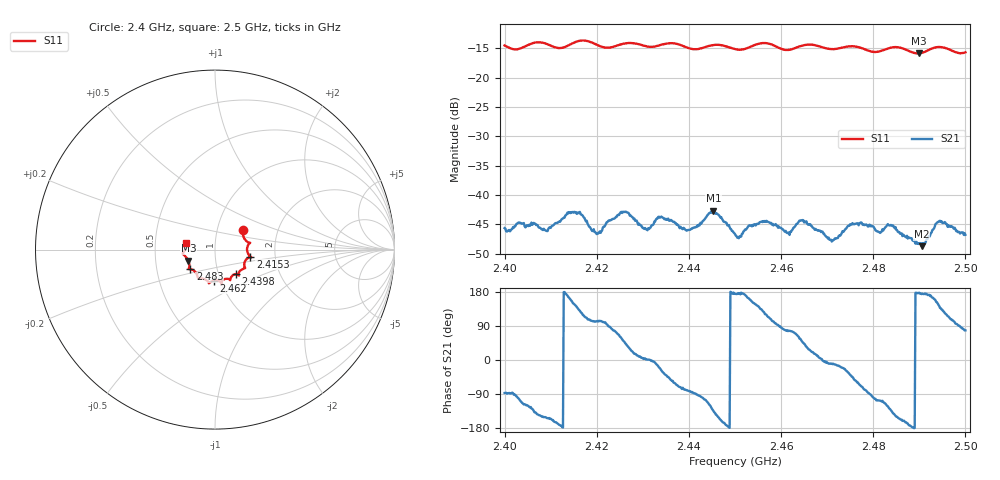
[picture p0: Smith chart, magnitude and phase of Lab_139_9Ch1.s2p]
# Hz S RI R 50
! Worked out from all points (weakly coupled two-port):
!   601 points, 2.4 GHz to 2.5 GHz, reference 50 ohm
!   highest |S21| = -42.66 dB at 2.4453 GHz (marker M1); lowest = -48.7 dB at 2.4905 GHz (marker M2)
!   lowest |S11| = -15.9 dB at 2.4898 GHz (marker M3), VSWR 1.38, Z = 36.8 - j4.62 ohm
!   |S11| at or under -10 dB: start of sweep to end of sweep
!   S12 and S22 are empty: the file has one direction only
!   S11 on the Smith chart (normalised r, x): 2.4 GHz: 1.33, +0.29; 2.4153 GHz: 1.48, -0.12; 2.4398 GHz: 1.21, -0.34; 2.462 GHz: 0.93, -0.33; 2.483 GHz: 0.74, -0.17; 2.5 GHz: 0.72, +0.06
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2.4e9  0.1547 0.1066  0.000268 -0.00523  0 0  0 0
2.409167e9  0.1904 0.0333  -0.0044 -0.00222  0 0  0 0
2.415333e9  0.1967 -0.0386  -0.00586 0.0041  0 0  0 0
2.416667e9  0.2024 -0.0427  -0.00385 0.00559  0 0  0 0
2.42e9  0.1849 -0.0459  -0.000964 0.00455  0 0  0 0
2.425667e9  0.1662 -0.0997  0.00448 0.00565  0 0  0 0
2.4305e9  0.1481 -0.112  0.00522 0.000385  0 0  0 0
2.433333e9  0.1311 -0.1337  0.00624 -0.00186  0 0  0 0
2.439833e9  0.1154 -0.1364  0.000756 -0.00499  0 0  0 0
2.445333e9  0.0843 -0.1697  -0.0052 -0.00521  0 0  0 0
2.45e9  0.065 -0.1624  -0.00464 0.000408  0 0  0 0
2.456333e9  0.0389 -0.1932  -0.00344 0.00482  0 0  0 0
2.462e9  -0.00516 -0.1729  0.00112 0.00473  0 0  0 0
2.466667e9  -0.0341 -0.1876  0.00507 0.00195  0 0  0 0
2.471e9  -0.0581 -0.1648  0.00397 -0.000672  0 0  0 0
2.4755e9  -0.0933 -0.1598  0.0041 -0.00406  0 0  0 0
2.483e9  -0.1377 -0.1094  -0.00282 -0.00474  0 0  0 0
2.483333e9  -0.1402 -0.1092  -0.0032 -0.00454  0 0  0 0
2.489833e9  -0.1485 -0.061  -0.00383 0.00019  0 0  0 0
2.4905e9  -0.1538 -0.0517  -0.00365 0.000388  0 0  0 0
2.494333e9  -0.181 -0.0218  -0.00473 0.0037  0 0  0 0
2.5e9  -0.1594 0.0392  0.000941 0.00449  0 0  0 0
